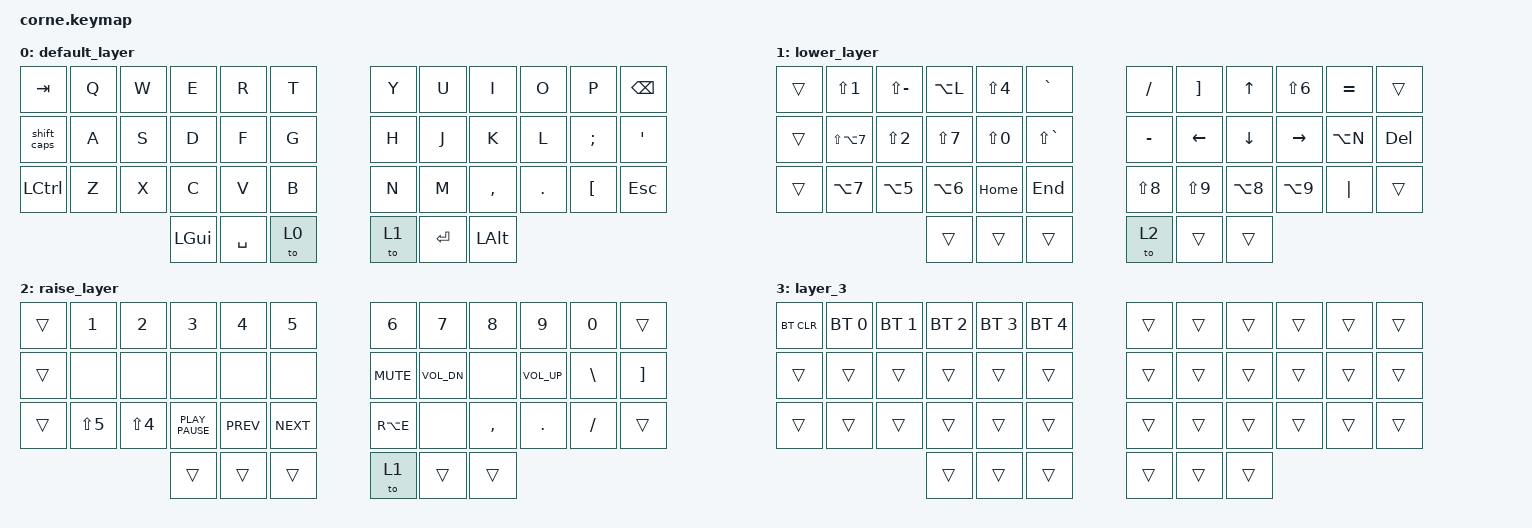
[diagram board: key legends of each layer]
/*
 * Copyright (c) 2020 The ZMK Contributors
 *
 * SPDX-License-Identifier: MIT
 */

#include <behaviors.dtsi>
#include <dt-bindings/zmk/bt.h>
#include <dt-bindings/zmk/keys.h>

/ {
    combos {
        compatible = "zmk,combos";

        goToLayer3 {
            bindings = <&to 3>;
            key-positions = <38 39>;
        };
    };

    behaviors {
        // Umschalt: 1x tippen/halten = Shift, 2x schnell tippen = Caps Lock
        shift_caps: shift_caps {
            compatible = "zmk,behavior-tap-dance";
            #binding-cells = <0>;
            tapping-term-ms = <200>;
            bindings = <&kp LEFT_SHIFT>, <&kp CAPS>;
        };
    };

    keymap {
        compatible = "zmk,keymap";

        default_layer {
            // -----------------------------------------------------------------------------------------
            // |  TAB |  Q  |  W  |  E  |  R  |  T  |   |  Y  |  U   |  I  |  O  |  P  | BKSP |
            // | CTRL |  A  |  S  |  D  |  F  |  G  |   |  H  |  J   |  K  |  L  |  ;  |  '   |
            // | SHFT |  Z  |  X  |  C  |  V  |  B  |   |  N  |  M   |  ,  |  .  |  /  | ESC  |
            //                    | GUI | LWR | SPC |   | ENT | RSE  | ALT |

            bindings = <
&kp TAB           &kp Q  &kp W  &kp E     &kp R      &kp T    &kp Y  &kp U       &kp I         &kp O    &kp P             &kp BSPC
&shift_caps       &kp A  &kp S  &kp D     &kp F      &kp G    &kp H  &kp J       &kp K         &kp L    &kp SEMI          &kp SQT
&kp LEFT_CONTROL  &kp Z  &kp X  &kp C     &kp V      &kp B    &kp N  &kp M       &kp COMMA     &kp DOT  &kp LEFT_BRACKET  &kp ESC
                                &kp LGUI  &kp SPACE  &to 0    &to 1  &kp RETURN  &kp LEFT_ALT
            >;
        };

        lower_layer {
            // -----------------------------------------------------------------------------------------
            // |  TAB |  1  |  2  |  3  |  4  |  5  |   |  6  |  7  |  8  |  9  |  0  | BKSP |
            // | BTCLR| BT1 | BT2 | BT3 | BT4 | BT5 |   | LFT | DWN |  UP | RGT |     |      |
            // | SHFT |     |     |     |     |     |   |     |     |     |     |     |      |
            //                    | GUI |     | SPC |   | ENT |     | ALT |

            bindings = <
&trans  &kp LS(NUMBER_1)  &kp LS(MINUS)  &kp LA(L)   &kp LS(NUMBER_4)  &kp GRAVE                   &kp SLASH   &kp RIGHT_BRACKET  &kp UP_ARROW    &kp LS(NUMBER_6)  &kp EQUAL              &trans
&trans  &kp LS(LA(N7))    &kp LS(N2)     &kp LS(N7)  &kp LS(N0)        &kp LS(GRAVE)               &kp MINUS   &kp LEFT_ARROW     &kp DOWN_ARROW  &kp RIGHT         &kp LA(N)              &kp DELETE
&trans  &kp LA(N7)        &kp LA(N5)     &kp LA(N6)  &kp HOME          &kp END                     &kp LS(N8)  &kp LS(N9)         &kp LA(N8)      &kp LA(N9)        &kp PIPE               &trans
                                         &trans      &trans            &trans                      &to 2       &trans             &trans
            >;
        };

        raise_layer {
            // -----------------------------------------------------------------------------------------
            // |  TAB |  !  |  @  |  #  |  $  |  %  |   |  ^  |  &  |  *  |  (  |  )  | BKSP |
            // | CTRL |     |     |     |     |     |   |  -  |  =  |  [  |  ]  |  \  |  `   |
            // | SHFT |     |     |     |     |     |   |  _  |  +  |  {  |  }  | "|" |  ~   |
            //                    | GUI |     | SPC |   | ENT |     | ALT |

            bindings = <
&trans  &kp N1      &kp N2      &kp N3            &kp N4      &kp N5        &kp N6      &kp N7        &kp N8     &kp N9           &kp N0     &trans
&trans  &none       &none       &none             &none       &none         &kp K_MUTE  &kp C_VOL_DN  &none      &kp C_VOLUME_UP  &kp BSLH   &kp RIGHT_BRACKET
&trans  &kp LS(N5)  &kp LS(N4)  &kp K_PLAY_PAUSE  &kp K_PREV  &kp K_NEXT    &kp RA(E)   &none         &kp COMMA  &kp PERIOD       &kp SLASH  &trans
                                &trans            &trans      &trans        &to 1       &trans        &trans
            >;
        };

        layer_3 {
            bindings = <
&bt BT_CLR  &bt BT_SEL 0  &bt BT_SEL 1  &bt BT_SEL 2  &bt BT_SEL 3  &bt BT_SEL 4    &trans  &trans  &trans  &trans  &trans  &trans
&trans      &trans        &trans        &trans        &trans        &trans          &trans  &trans  &trans  &trans  &trans  &trans
&trans      &trans        &trans        &trans        &trans        &trans          &trans  &trans  &trans  &trans  &trans  &trans
                                        &trans        &trans        &trans          &trans  &trans  &trans
            >;
        };
    };
};
